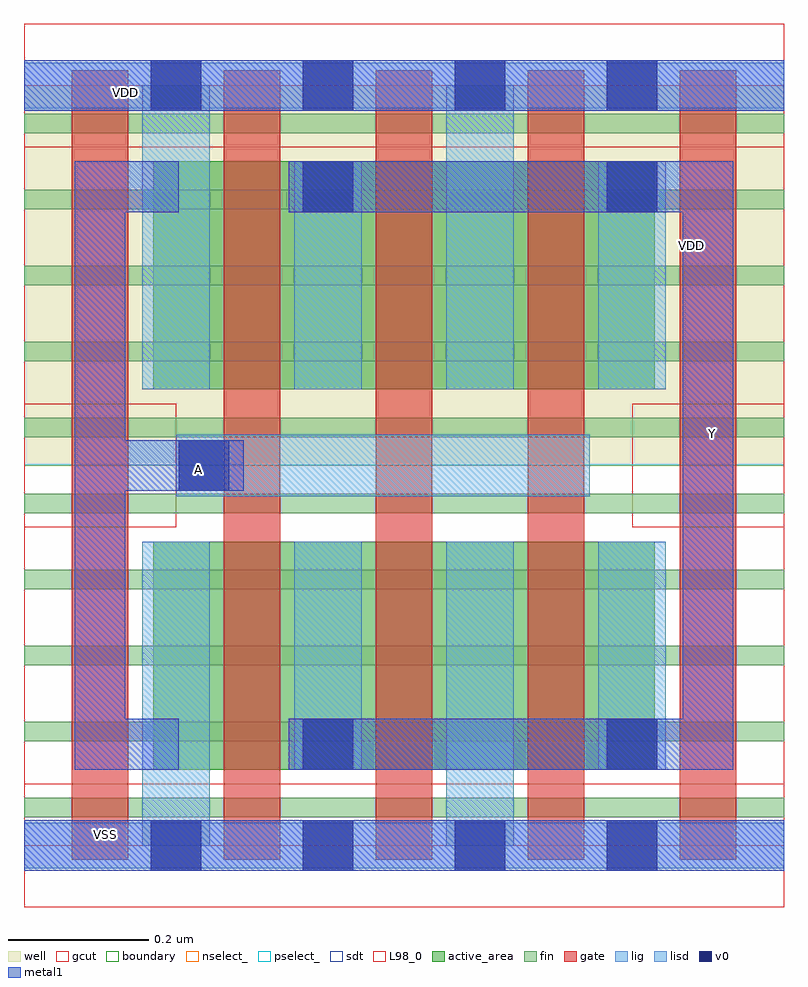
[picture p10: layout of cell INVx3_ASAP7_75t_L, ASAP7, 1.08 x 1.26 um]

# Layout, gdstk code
import gdstk
lib = gdstk.Library(unit=1e-6, precision=2.5e-10)
def R(c, l, rs):  # rectangles x0, y0, x1, y1
    for r in rs: c.add(gdstk.rectangle(r[:2], r[2:], *l))
def A(c, l, x, y, w, h, nx, ny, dx, dy):  # array of equal rectangles
    R(c, l, [(x+i*dx, y+j*dy, x+i*dx+w, y+j*dy+h) for i in range(nx) for j in range(ny)])
def P(c, l, *ps):  # polygons
    for p in ps: c.add(gdstk.Polygon(p, *l))
well = (1, 0)
fin = (2, 0)
gate = (7, 0)
gcut = (10, 0)
active_area = (11, 0)
nselect_ = (12, 0)
pselect_ = (13, 0)
lig = (16, 0)
lisd = (17, 0)
v0 = (18, 0)
metal1 = (19, 0)
sdt = (88, 0)
L98_0 = (98, 0)
boundary = (100, 0)

invx3_asap7_75t_l = lib.new_cell('INVx3_ASAP7_75t_L')
R(invx3_asap7_75t_l, well, [(0,0.54,1.08,1.08)])
A(invx3_asap7_75t_l, fin, 0, 0.04, 1.08, 0.028, 1, 10, 0, 0.108)
A(invx3_asap7_75t_l, gate, 0.068, -0.02, 0.08, 1.122, 5, 1, 0.216, 0)
R(invx3_asap7_75t_l, gcut, [(0,-0.088,1.08,0.088), (0,0.452,0.216,0.628), (0.864,0.452,1.08,0.628), (0,0.992,1.08,1.168)])
R(invx3_asap7_75t_l, active_area, [(0.184,0.108,0.896,0.432), (0.184,0.648,0.896,0.972)])
R(invx3_asap7_75t_l, nselect_, [(0,0,1.08,0.54)])
R(invx3_asap7_75t_l, pselect_, [(0,0.54,1.08,1.08)])
R(invx3_asap7_75t_l, lig, [(0,-0.032,1.08,0.032), (0.216,0.496,0.804,0.584), (0,1.048,1.08,1.112)])
R(invx3_asap7_75t_l, lisd, [(0.168,0,0.264,0.432), (0.6,0,0.696,0.432), (0.384,0.108,0.48,0.432), (0.816,0.108,0.912,0.432), (0.168,0.648,0.264,1.08), (0.384,0.648,0.48,0.972), (0.6,0.648,0.696,1.08), (0.816,0.648,0.912,0.972)])
A(invx3_asap7_75t_l, v0, 0.18, -0.036, 0.072, 0.072, 4, 2, 0.216, 1.08)
R(invx3_asap7_75t_l, v0, [(0.396,0.108,0.468,0.18), (0.828,0.108,0.9,0.18), (0.22,0.504,0.292,0.576), (0.396,0.9,0.468,0.972), (0.828,0.9,0.9,0.972)])
R(invx3_asap7_75t_l, metal1, [(0,-0.036,1.08,0.036), (0,1.044,1.08,1.116)])
P(invx3_asap7_75t_l, metal1, [(0.312,0.576),(0.144,0.576),(0.144,0.9),(0.22,0.9),(0.22,0.972),(0.072,0.972),(0.072,0.108),(0.22,0.108),(0.22,0.18),(0.144,0.18),(0.144,0.504),(0.312,0.504)],
  [(1.008,0.972),(0.376,0.972),(0.376,0.9),(0.936,0.9),(0.936,0.18),(0.376,0.18),(0.376,0.108),(1.008,0.108)])
A(invx3_asap7_75t_l, sdt, 0.168, 0.108, 0.096, 0.324, 4, 2, 0.216, 0.54)
R(invx3_asap7_75t_l, L98_0, [(0,0,1.08,1.08)])
R(invx3_asap7_75t_l, boundary, [(0,0,1.08,1.08)])
invx3_asap7_75t_l.add(gdstk.Label('VDD', (0.948,0.852), layer=1, texttype=251))
invx3_asap7_75t_l.add(gdstk.Label('VSS', (0.116,0.016), layer=19, texttype=251))
invx3_asap7_75t_l.add(gdstk.Label('VDD', (0.144,1.07), layer=19, texttype=251))
invx3_asap7_75t_l.add(gdstk.Label('A', (0.248,0.534), layer=19, texttype=251))
invx3_asap7_75t_l.add(gdstk.Label('Y', (0.978,0.586), layer=19, texttype=251))
invx3_asap7_75t_l.add(gdstk.Label('VSS', (1.224,0.848), layer=3, texttype=251))

lib.write_gds('INVx3_ASAP7_75t_L.gds')
